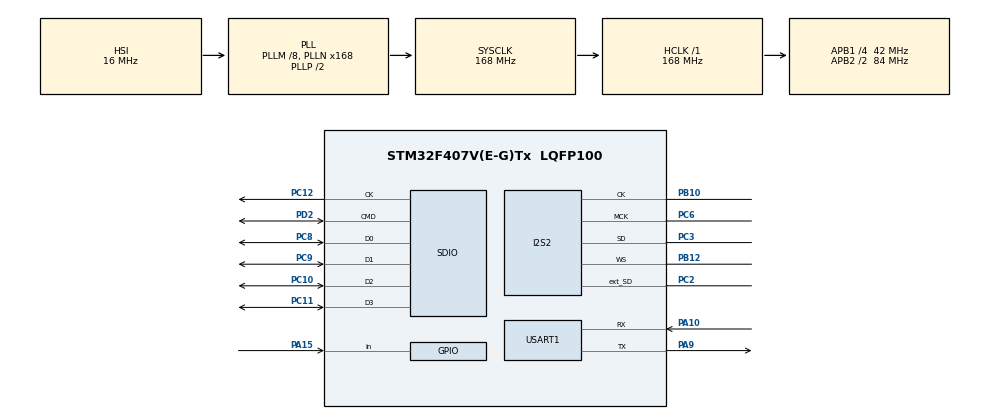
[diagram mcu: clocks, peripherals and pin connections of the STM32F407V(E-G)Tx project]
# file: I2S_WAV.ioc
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Dma.Request0=SPI2_TX
Dma.SPI2_TX.0.Direction=DMA_MEMORY_TO_PERIPH
Dma.SPI2_TX.0.FIFOMode=DMA_FIFOMODE_DISABLE
Dma.SPI2_TX.0.Instance=DMA1_Stream4
Dma.SPI2_TX.0.MemDataAlignment=DMA_MDATAALIGN_HALFWORD
Dma.SPI2_TX.0.MemInc=DMA_MINC_ENABLE
Dma.SPI2_TX.0.Mode=DMA_NORMAL
Dma.SPI2_TX.0.PeriphDataAlignment=DMA_PDATAALIGN_HALFWORD
Dma.SPI2_TX.0.PeriphInc=DMA_PINC_DISABLE
Dma.SPI2_TX.0.Priority=DMA_PRIORITY_LOW
FATFS.BSP.number=1
FATFS._MAX_SS=4096
FATFS._USE_CHMOD=1
FATFS._USE_EXPAND=1
FATFS._USE_FIND=1
FATFS._USE_FORWARD=1
FATFS._USE_LABEL=1
FATFS._USE_LFN=1
FATFS0.BSP.STBoard=false
FATFS0.BSP.api=Unknown
FATFS0.BSP.instance=PA15
FATFS0.BSP.ip=GPIO
FATFS0.BSP.mode=Input
FATFS0.BSP.name=Detect_SDIO
FATFS0.BSP.solution=PA15
I2S2.AudioFreq=I2S_AUDIOFREQ_44K
I2S2.ErrorAudioFreq=10.97 %
I2S2.FullDuplexMode=I2S_FULLDUPLEXMODE_ENABLE
I2S2.Instance=SPI$Index
I2S2.RealAudioFreq=48.828 KHz
I2S2.VirtualMode=I2S_MODE_MASTER
Mcu.Family=STM32F4
Mcu.Name=STM32F407V(E-G)Tx
Mcu.Package=LQFP100
NVIC.DMA1_Stream4_IRQn=true\:0\:0\:false\:false\:true\:false\:true\:true
NVIC.PriorityGroup=NVIC_PRIORITYGROUP_4
NVIC.SPI2_IRQn=true\:0\:0\:false\:false\:true\:true\:true\:true
PA10.Mode=Asynchronous
PA10.Signal=USART1_RX
PA13.Mode=Serial_Wire
PA13.Signal=SYS_JTMS-SWDIO
PA14.Mode=Serial_Wire
PA14.Signal=SYS_JTCK-SWCLK
PA15.GPIO_PuPd=GPIO_PULLUP
PA15.Signal=GPIO_Input
PA9.Mode=Asynchronous
PA9.Signal=USART1_TX
PB10.Mode=Full_Duplex_Master
PB10.Signal=I2S2_CK
PB12.Mode=Full_Duplex_Master
PB12.Signal=I2S2_WS
PC10.GPIO_PuPd=GPIO_PULLUP
PC10.Mode=SD_4_bits_Wide_bus
PC10.Signal=SDIO_D2
PC11.GPIO_PuPd=GPIO_PULLUP
PC11.Mode=SD_4_bits_Wide_bus
PC11.Signal=SDIO_D3
PC12.Mode=SD_4_bits_Wide_bus
PC12.Signal=SDIO_CK
PC2.Mode=Full_Duplex_Master
PC2.Signal=I2S2_ext_SD
PC3.Mode=Full_Duplex_Master
PC3.Signal=I2S2_SD
PC6.Mode=Master_Clock_Activated
PC6.Signal=I2S2_MCK
PC8.GPIO_PuPd=GPIO_PULLUP
PC8.Mode=SD_4_bits_Wide_bus
PC8.Signal=SDIO_D0
PC9.GPIO_PuPd=GPIO_PULLUP
PC9.Mode=SD_4_bits_Wide_bus
PC9.Signal=SDIO_D1
PD2.GPIO_PuPd=GPIO_PULLUP
PD2.Mode=SD_4_bits_Wide_bus
PD2.Signal=SDIO_CMD
PH0-OSC_IN.Mode=HSE-External-Oscillator
PH0-OSC_IN.Signal=RCC_OSC_IN
PH1-OSC_OUT.Mode=HSE-External-Oscillator
PH1-OSC_OUT.Signal=RCC_OSC_OUT
ProjectManager.HeapSize=0x200
ProjectManager.StackSize=0x400
ProjectManager.TargetToolchain=MDK-ARM V5.32
RCC.48MHZClocksFreq_Value=48000000
RCC.AHBFreq_Value=168000000
RCC.APB1CLKDivider=RCC_HCLK_DIV4
RCC.APB1Freq_Value=42000000
RCC.APB1TimFreq_Value=84000000
RCC.APB2CLKDivider=RCC_HCLK_DIV2
RCC.APB2Freq_Value=84000000
RCC.APB2TimFreq_Value=168000000
RCC.CortexFreq_Value=168000000
RCC.HCLKFreq_Value=168000000
RCC.HSE_VALUE=25000000
RCC.HSI_VALUE=16000000
RCC.LSE_VALUE=32768
RCC.PLLI2SN=50
RCC.PLLM=8
RCC.PLLN=168
RCC.PLLQ=7
RCC.SYSCLKFreq_VALUE=168000000
RCC.SYSCLKSource=RCC_SYSCLKSOURCE_PLLCLK
RCC.VCOOutputFreq_Value=336000000
USART1.VirtualMode=VM_ASYNC
VP_FATFS_VS_SDIO.Mode=SDIO
board=custom

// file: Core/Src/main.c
/* USER CODE BEGIN Header */
/**
  ******************************************************************************
  * @file           : main.c
  * @brief          : Main program body
  ******************************************************************************
  * @attention
  *
  * Copyright (c) 2025 STMicroelectronics.
  * All rights reserved.
  *
  * This software is licensed under terms that can be found in the LICENSE file
  * in the root directory of this software component.
  * If no LICENSE file comes with this software, it is provided AS-IS.
  *
  ******************************************************************************
  */
/* USER CODE END Header */
#include "main.h"
#include "dma.h"
#include "fatfs.h"
#include "i2s.h"
#include "sdio.h"
#include "usart.h"
#include "gpio.h"

/* USER CODE BEGIN Includes */
#include <stdio.h>
#include <string.h>
#include "wav_driver.h"
/* USER CODE END Includes */

/* USER CODE BEGIN PV */
extern volatile uint32_t WAV_Count;
/* USER CODE END PV */

void SystemClock_Config(void);

/* USER CODE BEGIN 0 */
int fputc(int ch, FILE *f) {
  (void)f;  // 忽略参数，避免警告
  HAL_UART_Transmit(&huart1, (const uint8_t *)&ch, 1, 500); // 发送一个字节
  return ch;
}

// uint8_t BSP_SD_IsDetected(void)
// {
//     __IO uint8_t status = SD_PRESENT;

//     if (HAL_GPIO_ReadPin(GPIOA, GPIO_PIN_15) != GPIO_PIN_RESET) {
//         status = SD_NOT_PRESENT;
//     }

//     return status;
// }
/* USER CODE END 0 */

int main(void)
{

  /* MCU Configuration--------------------------------------------------------*/

  /* Reset of all peripherals, Initializes the Flash interface and the Systick. */
  HAL_Init();

  /* Configure the system clock */
  SystemClock_Config();

  /* Initialize all configured peripherals */
  MX_GPIO_Init();
  MX_DMA_Init();
  MX_I2S2_Init();
  MX_SDIO_SD_Init();
  MX_USART1_UART_Init();
  MX_FATFS_Init();
  /* USER CODE BEGIN 2 */
	WAV_Disp();
  /* USER CODE END 2 */

  /* Infinite loop */
  /* USER CODE BEGIN WHILE */
  uint32_t now = 0, loop_cnt = 0, next_tick = 1000;
  while (1)
  {
    now = uwTick;

    if (now >= next_tick)
    {
        char s[128];
        sprintf(s, "Tick %lu loop = %u", now / 1000, loop_cnt);
        printf("%s WAV_Count = %u\r\n", s, WAV_Count);
        loop_cnt = 0;
        next_tick = now + 1000;
    }
	++loop_cnt;
    /* USER CODE END WHILE */

  }
}

void SystemClock_Config(void)
{
  RCC_OscInitTypeDef RCC_OscInitStruct = {0};
  RCC_ClkInitTypeDef RCC_ClkInitStruct = {0};

  /** Configure the main internal regulator output voltage
  */
  __HAL_RCC_PWR_CLK_ENABLE();
  __HAL_PWR_VOLTAGESCALING_CONFIG(PWR_REGULATOR_VOLTAGE_SCALE1);

  /** Initializes the RCC Oscillators according to the specified parameters
  * in the RCC_OscInitTypeDef structure.
  */
  RCC_OscInitStruct.OscillatorType = RCC_OSCILLATORTYPE_HSI;
  RCC_OscInitStruct.HSIState = RCC_HSI_ON;
  RCC_OscInitStruct.HSICalibrationValue = RCC_HSICALIBRATION_DEFAULT;
  RCC_OscInitStruct.PLL.PLLState = RCC_PLL_ON;
  RCC_OscInitStruct.PLL.PLLSource = RCC_PLLSOURCE_HSI;
  RCC_OscInitStruct.PLL.PLLM = 8;
  RCC_OscInitStruct.PLL.PLLN = 168;
  RCC_OscInitStruct.PLL.PLLP = RCC_PLLP_DIV2;
  RCC_OscInitStruct.PLL.PLLQ = 7;
  if (HAL_RCC_OscConfig(&RCC_OscInitStruct) != HAL_OK)
  {
    Error_Handler();
  }

  /** Initializes the CPU, AHB and APB buses clocks
  */
  RCC_ClkInitStruct.ClockType = RCC_CLOCKTYPE_HCLK|RCC_CLOCKTYPE_SYSCLK
                              |RCC_CLOCKTYPE_PCLK1|RCC_CLOCKTYPE_PCLK2;
  RCC_ClkInitStruct.SYSCLKSource = RCC_SYSCLKSOURCE_PLLCLK;
  RCC_ClkInitStruct.AHBCLKDivider = RCC_SYSCLK_DIV1;
  RCC_ClkInitStruct.APB1CLKDivider = RCC_HCLK_DIV4;
  RCC_ClkInitStruct.APB2CLKDivider = RCC_HCLK_DIV2;

  if (HAL_RCC_ClockConfig(&RCC_ClkInitStruct, FLASH_LATENCY_5) != HAL_OK)
  {
    Error_Handler();
  }
}

void Error_Handler(void)
{
  __disable_irq();
  while (1)
  {
  }
}
